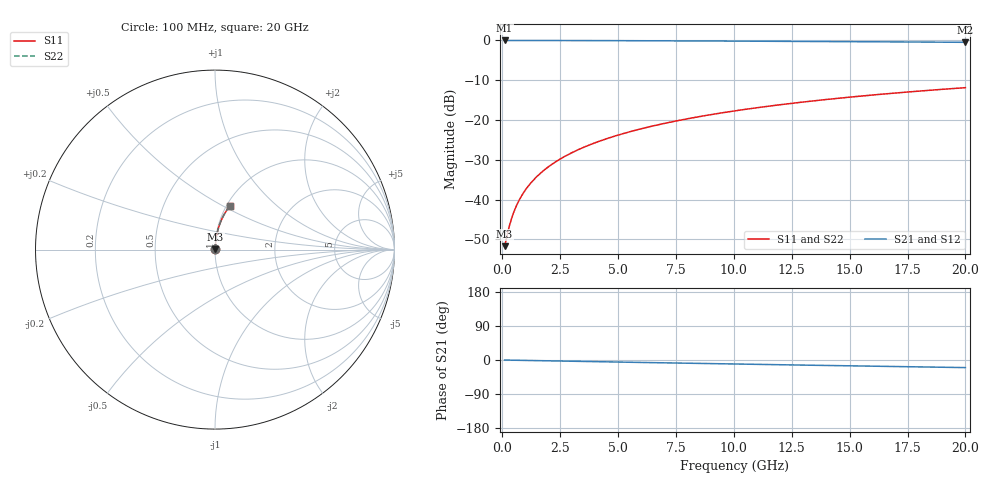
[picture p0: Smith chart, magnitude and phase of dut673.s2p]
! Touchstone file exported from HFSS 2024.1.0
!  File:  C:/UserFiles/LocalFiles/RDL_TSV_Batchsim/temp_RDL_top_673_1779782148.aedt
!  Generated:  03:58:30 PM May 26, 2026
!  Design:  RDL_top
!  Project:  temp_RDL_top_673_1779782148
!  Setup:  Setup1
!  Solution:  Sweep
! Variables:
!  dtsv = 10.80580581um
!  hbump = 3um
!  htsv = 56.65um
!  ldown = 100um
!  lrdl = 232.58um
!  p = 40
!  p1 = 42.15um
!  rhole = 1um
!  t = 450um
!  tdown = 3.915915916um
!  trdl = 3.38um
!  wdown = 15.38538539um
!  wrdl = 11.68um
# GHz S MA R 50.000000
! Terminal data exported
! Port[1] = Box2_T1
! Port[2] = Box2_T2
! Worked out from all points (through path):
!   200 points, 100 MHz to 20 GHz, reference 50 ohm
!   highest |S21| = -0.02 dB at 100 MHz (marker M1); lowest = -0.5 dB at 20 GHz (marker M2)
!   group delay of S21, straight-line fit = 2.78 ps
!   lowest |S11| = -51.7 dB at 100 MHz (marker M3), VSWR 1.01, Z = 50.2 + j0.134 ohm
!   |S11| at or under -10 dB: start of sweep to end of sweep
!   |S22| runs from -51.7 to -11.9 dB; largest |S21 - S12| = 3.5e-15
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0.1  0.002602 30.9  0.9978 -0.1  0.9978 -0.1  0.002602 30.9
! Gamma 0 0 0 0
! Port Impedance 50 0 50 0
0.3  0.004603 60.0  0.9977 -0.3  0.9977 -0.3  0.004603 60.0
0.4  0.005789 66.0  0.9976 -0.4  0.9976 -0.4  0.005789 66.0
0.5  0.007009 69.9  0.9976 -0.6  0.9976 -0.6  0.007009 69.9
0.6  0.008244 72.7  0.9975 -0.7  0.9975 -0.7  0.008244 72.7
0.8  0.01074 76.2  0.9974 -0.9  0.9974 -0.9  0.01074 76.2
1.1  0.01451 79.3  0.9972 -1.2  0.9972 -1.2  0.01451 79.3
1.3  0.01704 80.5  0.9971 -1.4  0.9971 -1.4  0.01704 80.5
1.5  0.01957 81.5  0.9969 -1.7  0.9969 -1.7  0.01957 81.5
1.8  0.02339 82.4  0.9967 -2.0  0.9967 -2.0  0.02339 82.4
2.1  0.02723 83.0  0.9964 -2.3  0.9964 -2.3  0.02723 83.0
2.7  0.03492 83.7  0.9958 -3.0  0.9958 -3.0  0.03492 83.7
3.5  0.04522 84.0  0.9947 -3.8  0.9947 -3.8  0.04522 84.0
4.2  0.05426 84.0  0.9936 -4.6  0.9936 -4.6  0.05426 84.0
5  0.06463 83.8  0.9921 -5.4  0.9921 -5.4  0.06463 83.8
5.9  0.07632 83.4  0.9902 -6.4  0.9902 -6.4  0.07632 83.4
6.8  0.08803 82.8  0.9881 -7.3  0.9881 -7.3  0.08803 82.8
8.3  0.1076 81.8  0.9843 -8.8  0.9843 -8.8  0.1076 81.8
10.1  0.131 80.4  0.9793 -10.6  0.9793 -10.6  0.131 80.3
13.4  0.1734 77.5  0.9691 -13.9  0.9691 -13.9  0.1734 77.5
16.7  0.2148 74.4  0.9578 -17.0  0.9578 -17.0  0.2148 74.4
20  0.2547 71.4  0.9457 -20.1  0.9457 -20.1  0.2547 71.4
